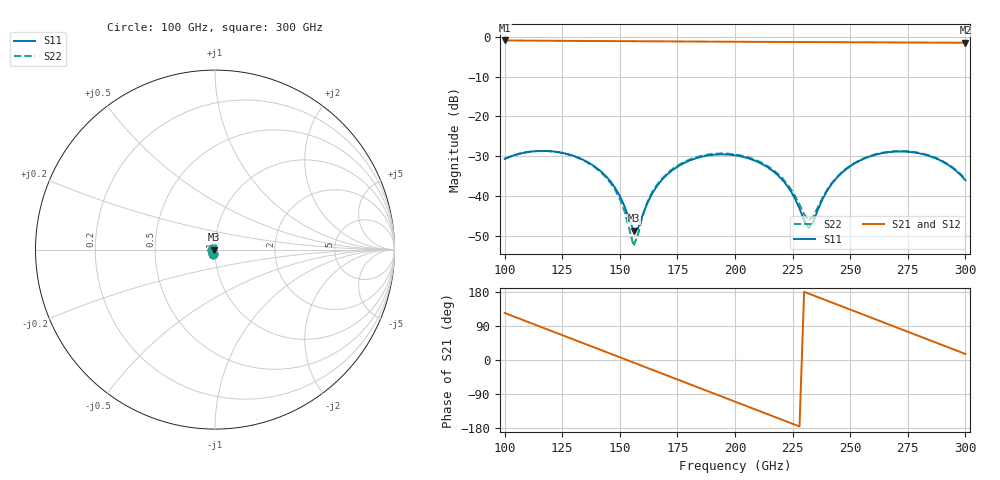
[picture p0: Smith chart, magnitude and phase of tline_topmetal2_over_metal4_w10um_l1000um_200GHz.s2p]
#  GHZ S DB R 50
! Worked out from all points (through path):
!   101 points, 100 GHz to 300 GHz, reference 50 ohm
!   highest |S21| = -0.88 dB at 100 GHz (marker M1); lowest = -1.4 dB at 300 GHz (marker M2)
!   group delay of S21, straight-line fit = 6.5 ps
!   lowest |S11| = -48.7 dB at 156 GHz (marker M3), VSWR 1.01, Z = 49.6 - j0.0227 ohm
!   |S11| at or under -10 dB: start of sweep to end of sweep
!   |S22| runs from -52.6 to -28.7 dB; largest |S21 - S12| = 1e-13
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100  -30.69 -112.6  -0.88 124.2  -0.88 124.2  -30.68 -112.6
116  -28.67 -150.7  -0.94 86.7  -0.94 86.7  -28.68 -150.8
134  -30.88 168.2  -1.00 44.6  -1.00 44.6  -30.98 167.3
148  -38.00 144.1  -1.04 11.9  -1.04 11.9  -38.52 140.5
152  -42.52 146.6  -1.05 2.5  -1.05 2.5  -43.76 140.7
156  -48.72 -176.4  -1.07 -6.9  -1.07 -6.9  -52.64 -168.7
158  -47.99 -138.3  -1.07 -11.5  -1.07 -11.5  -49.41 -117.2
162  -41.74 -110.8  -1.08 -20.9  -1.08 -20.9  -41.51 -99.6
168  -36.14 -112.3  -1.10 -35.0  -1.10 -35.0  -35.84 -105.9
184  -30.36 -142.6  -1.15 -72.4  -1.15 -72.4  -30.13 -138.7
200  -29.78 -177.2  -1.20 -109.9  -1.20 -109.9  -29.55 -173.5
218  -34.48 147.5  -1.25 -152.0  -1.25 -152.0  -34.16 152.1
224  -38.59 141.4  -1.26 -166.0  -1.26 -166.0  -38.08 147.2
232  -48.04 -168.6  -1.28 175.2  -1.28 175.2  -46.13 -168.5
234  -46.43 -137.1  -1.29 170.6  -1.29 170.6  -45.18 -142.0
240  -38.67 -114.5  -1.30 156.5  -1.30 156.5  -38.45 -116.6
246  -34.37 -120.2  -1.32 142.4  -1.32 142.4  -34.25 -120.5
258  -30.17 -142.6  -1.35 114.3  -1.35 114.3  -30.07 -141.5
268  -28.91 -163.5  -1.38 90.9  -1.38 90.9  -28.80 -162.0
282  -29.56 166.8  -1.41 58.1  -1.41 58.1  -29.43 168.9
292  -32.01 147.0  -1.43 34.7  -1.43 34.7  -31.85 149.7
300  -36.06 134.8  -1.45 16.0  -1.45 16.0  -35.82 138.4
